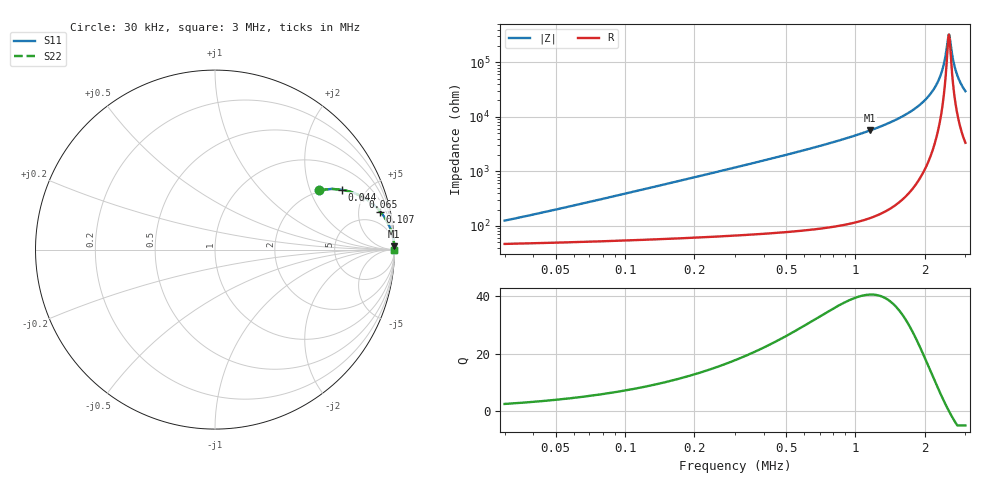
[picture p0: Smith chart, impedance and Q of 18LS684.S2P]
! Coilcraft 1812LS-684 Chip Inductor
! 8 August 2002
# MHZ S MA R 50
!Freq  MagS11  AngS11  MagS21  AngS21  MagS12  AngS12  MagS22  AngS22
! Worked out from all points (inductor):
!   426 points, 30 kHz to 3 MHz, reference 50 ohm
!   read as one part in series: L = 615 uH near 44 kHz
!   highest Q = 40.5 at 1.157 MHz (marker M1), where L = 775 uH
!   self-resonance near 2.543 MHz
!   S11 on the Smith chart (normalised r, x): 30 kHz: 1.93, +2.32; 44 kHz: 1.97, +3.40; 65 kHz: 2.02, +5.03; 107 kHz: 2.09, +8.28; 3 MHz: open
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0.03  0.6684 29.7  0.5347 -38.3  0.5347 -38.3  0.6684 29.7
0.044  0.7832 25.2  0.4428 -48.9  0.4428 -48.9  0.7832 25.2
0.065  0.8748 19.5  0.3411 -59.0  0.3411 -59.0  0.8748 19.5
0.107  0.945 13.0  0.2262 -69.5  0.2262 -69.5  0.945 13.0
0.177  0.9778 8.1  0.1417 -76.9  0.1417 -76.9  0.9778 8.1
0.268  0.9897 5.4  0.09433 -81.1  0.09433 -81.1  0.9897 5.4
0.527  0.9972 2.7  0.04684 -85.2  0.04684 -85.2  0.9972 2.7
1.024  0.9992 1.2  0.02116 -87.3  0.02116 -87.3  0.9992 1.2
1.157  0.9994 1.0  0.01773 -87.6  0.01773 -87.6  0.9994 1.0
1.521  0.9996 0.6  0.01093 -87.8  0.01093 -87.8  0.9996 0.6
2.011  0.9997 0.3  0.004839 -86.6  0.004839 -86.6  0.9997 0.3
2.2  0.9997 0.2  0.002985 -84.6  0.002985 -84.6  0.9997 0.2
2.34  0.9997 0.1  0.001734 -80.4  0.001734 -80.4  0.9997 0.1
2.431  0.9997 0.1  0.0009791 -72.5  0.0009791 -72.5  0.9997 0.1
2.508  0.9997 0.0  0.0004264 -44.7  0.0004264 -44.7  0.9997 0.0
2.529  0.9997 0.0  0.0003323 -23.2  0.0003323 -23.2  0.9997 0.0
2.55  0.9997 -0.0  0.0003104 6.9  0.0003104 6.9  0.9997 -0.0
2.564  0.9997 -0.0  0.0003436 25.6  0.0003436 25.6  0.9997 -0.0
2.648  0.9997 -0.0  0.0008652 68.1  0.0008652 68.1  0.9997 -0.0
2.725  0.9997 -0.1  0.001426 76.4  0.001426 76.4  0.9997 -0.1
2.844  0.9996 -0.1  0.002285 81.0  0.002285 81.0  0.9996 -0.1
3  0.9996 -0.2  0.003374 83.3  0.003374 83.3  0.9996 -0.2
